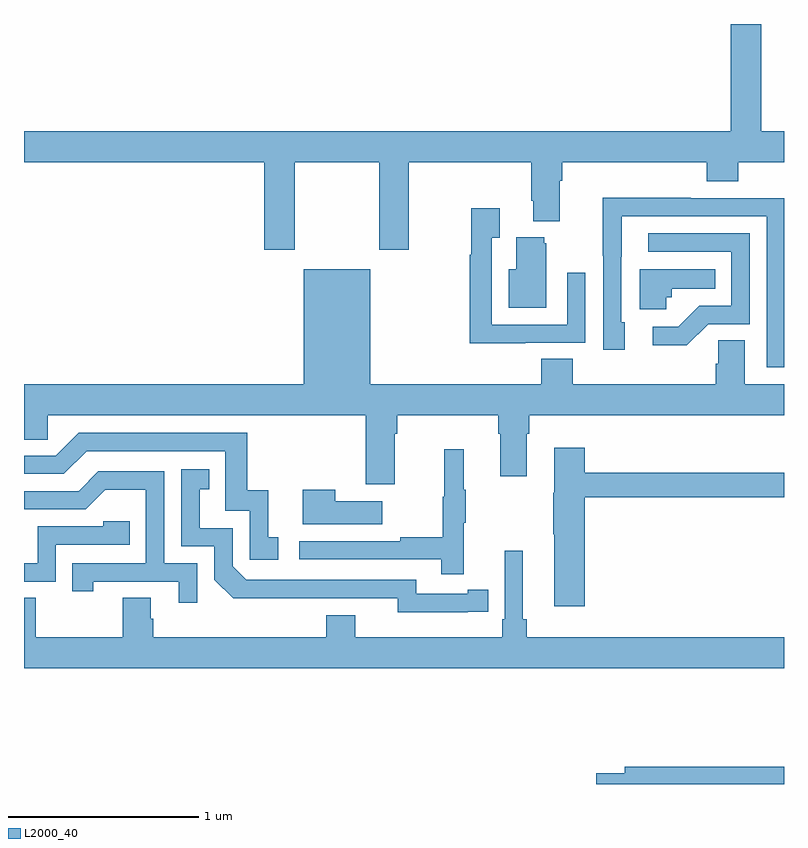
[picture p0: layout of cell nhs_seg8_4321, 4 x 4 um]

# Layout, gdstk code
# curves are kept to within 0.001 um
import gdstk
lib = gdstk.Library(unit=1e-6, precision=1e-09)
def P(c, l, *ps):  # polygons
    for p in ps: c.add(gdstk.Polygon(p, *l))
L2000_40 = (2000, 40)

nhs_seg8_4321 = lib.new_cell('nhs_seg8_4321')
P(nhs_seg8_4321, L2000_40, [(376.425,1111.172),(376.87,1111.172),(376.87,1110.711),(377.025,1110.711),(377.025,1111.172),(377.669,1111.172),(377.669,1110.97),(377.681,1110.97),(377.681,1110.863),(377.821,1110.863),(377.821,1111.076),(377.834,1111.076),(377.834,1111.172),(378.593,1111.172),(378.593,1111.073),(378.758,1111.073),(378.758,1111.172),(379,1111.172),(379,1111.336),(378.879,1111.336),(378.879,1111.9),(378.719,1111.9),(378.719,1111.336),(375,1111.336),(375,1111.172),(376.265,1111.172),(376.265,1110.711),(376.425,1110.711)],
  [(379,1110.984),(378.509,1110.984),(378.509,1110.986),(378.046,1110.986),(378.046,1110.679),(378.048,1110.679),(378.048,1110.186),(378.163,1110.186),(378.163,1110.33),(378.144,1110.33),(378.144,1110.676),(378.145,1110.676),(378.145,1110.888),(378.909,1110.888),(378.909,1110.093),(379,1110.093)],
  [(377.639,1110.222),(377.955,1110.222),(377.955,1110.592),(377.859,1110.592),(377.859,1110.318),(377.463,1110.318),(377.463,1110.775),(377.503,1110.775),(377.503,1110.931),(377.355,1110.931),(377.355,1110.686),(377.347,1110.686),(377.347,1110.221),(377.639,1110.221)],
  [(378.6,1110.321),(378.819,1110.321),(378.819,1110.798),(378.285,1110.798),(378.285,1110.702),(378.723,1110.702),(378.723,1110.417),(378.554,1110.417),(378.443,1110.306),(378.309,1110.306),(378.309,1110.209),(378.487,1110.209)],
  [(377.749,1110.747),(377.738,1110.747),(377.738,1110.778),(377.591,1110.778),(377.591,1110.61),(377.552,1110.61),(377.552,1110.407),(377.749,1110.407)],
  [(376.951,1109.744),(376.964,1109.744),(376.964,1109.84),(377.495,1109.84),(377.495,1109.744),(377.507,1109.744),(377.507,1109.52),(377.647,1109.52),(377.647,1109.744),(377.66,1109.744),(377.66,1109.84),(379,1109.84),(379,1110.004),(378.793,1110.004),(378.793,1110.236),(378.654,1110.236),(378.654,1110.113),(378.641,1110.113),(378.641,1110.004),(377.888,1110.004),(377.888,1110.137),(377.723,1110.137),(377.723,1110.004),(376.822,1110.004),(376.822,1110.61),(376.472,1110.61),(376.472,1110.004),(375,1110.004),(375,1109.713),(375.126,1109.713),(375.126,1109.84),(376.799,1109.84),(376.799,1109.478),(376.951,1109.478)],
  [(378.381,1110.462),(378.408,1110.462),(378.408,1110.506),(378.638,1110.506),(378.638,1110.61),(378.242,1110.61),(378.242,1110.398),(378.381,1110.398)],
  [(376.339,1109.199),(376.286,1109.199),(376.286,1109.446),(376.175,1109.446),(376.175,1109.748),(375.288,1109.748),(375.168,1109.628),(375,1109.628),(375,1109.532),(375.21,1109.532),(375.33,1109.652),(376.059,1109.652),(376.059,1109.337),(376.188,1109.337),(376.188,1109.079),(376.339,1109.079)],
  [(377.951,1109.41),(379,1109.41),(379,1109.539),(377.951,1109.539),(377.951,1109.671),(377.792,1109.671),(377.792,1109.433),(377.785,1109.433),(377.785,1109.215),(377.792,1109.215),(377.792,1108.836),(377.951,1108.836)],
  [(377.315,1109.275),(377.326,1109.275),(377.326,1109.449),(377.315,1109.449),(377.315,1109.662),(377.212,1109.662),(377.212,1109.412),(377.205,1109.412),(377.205,1109.198),(376.981,1109.198),(376.981,1109.178),(376.449,1109.178),(376.449,1109.082),(377.197,1109.082),(377.197,1109.004),(377.315,1109.004)],
  [(377.336,1108.806),(377.444,1108.806),(377.444,1108.922),(377.336,1108.922),(377.336,1108.902),(377.064,1108.902),(377.064,1108.974),(376.17,1108.974),(376.098,1109.046),(376.098,1109.247),(375.925,1109.247),(375.925,1109.451),(375.974,1109.451),(375.974,1109.557),(375.828,1109.557),(375.828,1109.151),(376.002,1109.151),(376.002,1108.974),(376.1,1108.877),(376.968,1108.878),(376.968,1108.805)],
  [(375.912,1109.061),(375.738,1109.061),(375.738,1109.547),(375.392,1109.547),(375.287,1109.442),(375,1109.442),(375,1109.346),(375.324,1109.346),(375.428,1109.45),(375.642,1109.45),(375.642,1109.061),(375.253,1109.061),(375.253,1108.914),(375.364,1108.914),(375.364,1108.965),(375.815,1108.965),(375.815,1108.854),(375.912,1108.854)],
  [(376.885,1109.389),(376.637,1109.389),(376.637,1109.449),(376.466,1109.449),(376.466,1109.267),(376.885,1109.267)],
  [(375.168,1109.16),(375.557,1109.16),(375.557,1109.283),(375.417,1109.283),(375.417,1109.256),(375.072,1109.256),(375.072,1109.061),(375,1109.061),(375,1108.965),(375.168,1108.965)],
  [(379,1108.672),(377.645,1108.672),(377.645,1108.768),(377.626,1108.768),(377.626,1109.128),(377.529,1109.128),(377.529,1108.768),(377.516,1108.768),(377.516,1108.672),(376.744,1108.672),(376.744,1108.789),(376.592,1108.789),(376.592,1108.672),(375.68,1108.672),(375.68,1108.77),(375.667,1108.77),(375.667,1108.88),(375.52,1108.88),(375.52,1108.672),(375.063,1108.672),(375.063,1108.88),(375,1108.88),(375,1108.508),(379,1108.508)],
  [(379,1107.992),(378.161,1107.992),(378.161,1107.956),(378.012,1107.956),(378.012,1107.9),(379,1107.9)])

lib.write_gds('nhs_seg8_4321.gds')
